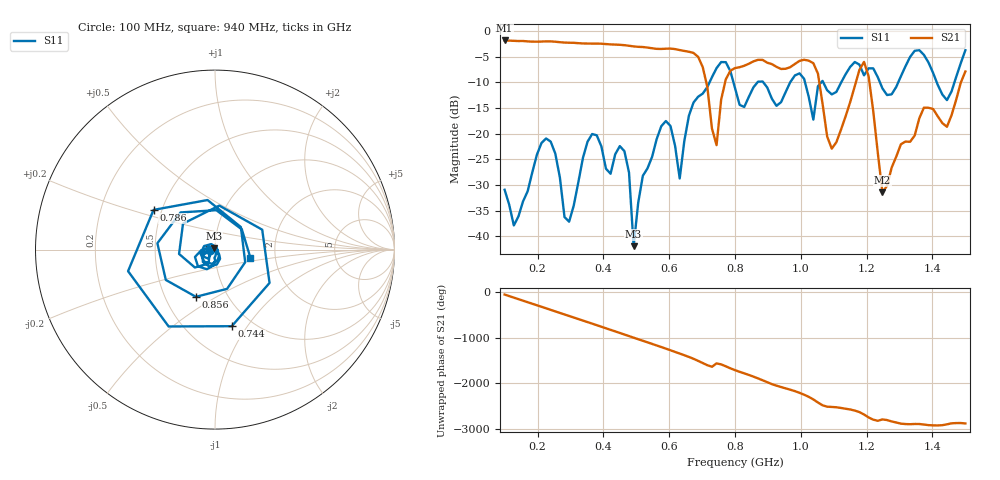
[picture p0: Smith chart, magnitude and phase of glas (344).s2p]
! NanoVNA-App
! Date: 2025-09-25 15:58:09
! Start: 100MHz Stop: 1,5GHz Points: 101
! S-Parameter data: F S11 S21 S12 S22
# Hz S RI R 50
!  Frequency  S11_Real  S11_Imag  S21_Real  S21_Imag  S12_Real  S12_Imag  S22_Real  S22_Imag
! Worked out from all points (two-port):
!   101 points, 100 MHz to 1.5 GHz, reference 50 ohm
!   highest |S21| = -1.80 dB at 100 MHz (marker M1); lowest = -31.4 dB at 1.248 GHz (marker M2)
!   |S21| within 3 dB of the highest: start of sweep to 684.3 MHz
!   lowest |S11| = -41.9 dB at 492 MHz (marker M3), VSWR 1.02, Z = 49.5 + j0.608 ohm
!   |S11| at or under -10 dB: start of sweep to 722.5 MHz; 795.4 MHz to 868 MHz (72.61 MHz wide, 8.73 % of centre); 886.2 MHz to 967.5 MHz (81.27 MHz wide, 8.77 % of centre) (the widest 3 of 7)
!   S12 and S22 are empty: the file has one direction only
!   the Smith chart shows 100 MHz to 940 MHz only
!   S11 on the Smith chart (normalised r, x): 100 MHz: 0.95, -0.01; 744 MHz: 0.81, -0.85; 786 MHz: 0.45, +0.24; 856 MHz: 0.71, -0.41; 940 MHz: 1.48, -0.15
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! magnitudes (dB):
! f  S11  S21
! 100 MHz  -30.9  -1.8
! 128 MHz  -37.9  -1.9
! 226 MHz  -20.9  -2.0
! 296 MHz  -37.2  -2.2
! 338 MHz  -24.7  -2.4
! 464 MHz  -23.4  -2.7
! 492 MHz  -41.9  -3.0
! 576 MHz  -18.5  -3.5
! 632 MHz  -28.7  -3.7
! 702 MHz  -12.2  -7.0
! 744 MHz  -7.2  -22.2
! 786 MHz  -7.8  -7.7
! 800 MHz  -11.1  -7.2
! 856 MHz  -10.9  -5.9
! 940 MHz  -13.8  -7.4
! 1.038 GHz  -17.2  -6.2
! 1.094 GHz  -12.3  -22.9
! 1.192 GHz  -8.6  -6.0
! 1.248 GHz  -11.2  -31.4
! 1.276 GHz  -12.3  -26.6
! 1.444 GHz  -13.4  -18.6
! 1.5 GHz  -3.7  -7.9
